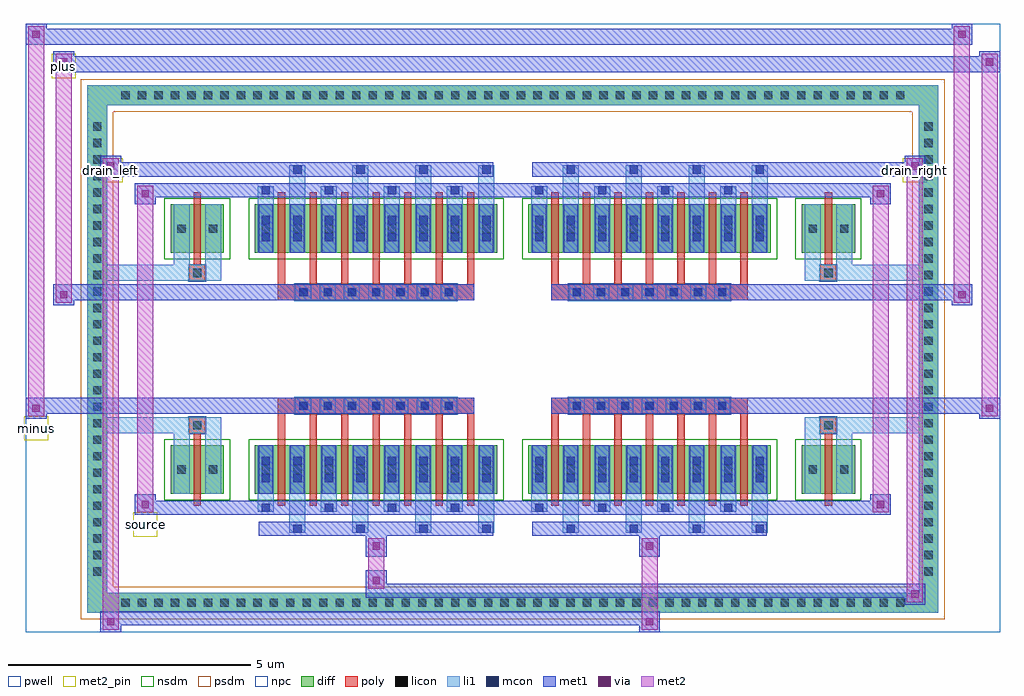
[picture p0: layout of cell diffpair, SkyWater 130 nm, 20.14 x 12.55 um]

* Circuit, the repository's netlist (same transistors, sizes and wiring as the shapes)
* NGSPICE file created from diffpair.ext - technology: sky130A

.subckt diffpair minus drain_right drain_left source plus
X0 source minus drain_right a_n1756_n1088# sky130_fd_pr__nfet_01v8 ad=0.25 pd=1.5 as=0.25 ps=1.5 w=1 l=0.15
X1 drain_left plus source a_n1756_n1088# sky130_fd_pr__nfet_01v8 ad=0.475 pd=2.95 as=0.25 ps=1.5 w=1 l=0.15
X2 drain_right minus source a_n1756_n1088# sky130_fd_pr__nfet_01v8 ad=0.25 pd=1.5 as=0.25 ps=1.5 w=1 l=0.15
X3 source plus drain_left a_n1756_n1088# sky130_fd_pr__nfet_01v8 ad=0.25 pd=1.5 as=0.25 ps=1.5 w=1 l=0.15
X4 a_n1756_n1088# a_n1756_n1088# a_n1756_n1088# a_n1756_n1088# sky130_fd_pr__nfet_01v8 ad=0.475 pd=2.95 as=3.8 ps=23.6 w=1 l=0.15
X5 source plus drain_left a_n1756_n1088# sky130_fd_pr__nfet_01v8 ad=0.25 pd=1.5 as=0.25 ps=1.5 w=1 l=0.15
X6 source minus drain_right a_n1756_n1088# sky130_fd_pr__nfet_01v8 ad=0.25 pd=1.5 as=0.25 ps=1.5 w=1 l=0.15
X7 drain_right minus source a_n1756_n1088# sky130_fd_pr__nfet_01v8 ad=0.25 pd=1.5 as=0.475 ps=2.95 w=1 l=0.15
X8 a_n1756_n1088# a_n1756_n1088# a_n1756_n1088# a_n1756_n1088# sky130_fd_pr__nfet_01v8 ad=0.475 pd=2.95 as=0 ps=0 w=1 l=0.15
X9 a_n1756_n1088# a_n1756_n1088# a_n1756_n1088# a_n1756_n1088# sky130_fd_pr__nfet_01v8 ad=0.475 pd=2.95 as=0 ps=0 w=1 l=0.15
X10 drain_left plus source a_n1756_n1088# sky130_fd_pr__nfet_01v8 ad=0.25 pd=1.5 as=0.475 ps=2.95 w=1 l=0.15
X11 a_n1756_n1088# a_n1756_n1088# a_n1756_n1088# a_n1756_n1088# sky130_fd_pr__nfet_01v8 ad=0.475 pd=2.95 as=0 ps=0 w=1 l=0.15
X12 source minus drain_right a_n1756_n1088# sky130_fd_pr__nfet_01v8 ad=0.25 pd=1.5 as=0.25 ps=1.5 w=1 l=0.15
X13 source minus drain_right a_n1756_n1088# sky130_fd_pr__nfet_01v8 ad=0.25 pd=1.5 as=0.25 ps=1.5 w=1 l=0.15
X14 drain_right minus source a_n1756_n1088# sky130_fd_pr__nfet_01v8 ad=0.25 pd=1.5 as=0.475 ps=2.95 w=1 l=0.15
X15 drain_right minus source a_n1756_n1088# sky130_fd_pr__nfet_01v8 ad=0.25 pd=1.5 as=0.25 ps=1.5 w=1 l=0.15
X16 drain_right minus source a_n1756_n1088# sky130_fd_pr__nfet_01v8 ad=0.25 pd=1.5 as=0.25 ps=1.5 w=1 l=0.15
X17 drain_left plus source a_n1756_n1088# sky130_fd_pr__nfet_01v8 ad=0.25 pd=1.5 as=0.25 ps=1.5 w=1 l=0.15
X18 source minus drain_right a_n1756_n1088# sky130_fd_pr__nfet_01v8 ad=0.25 pd=1.5 as=0.25 ps=1.5 w=1 l=0.15
X19 drain_right minus source a_n1756_n1088# sky130_fd_pr__nfet_01v8 ad=0.475 pd=2.95 as=0.25 ps=1.5 w=1 l=0.15
X20 drain_left plus source a_n1756_n1088# sky130_fd_pr__nfet_01v8 ad=0.475 pd=2.95 as=0.25 ps=1.5 w=1 l=0.15
X21 drain_right minus source a_n1756_n1088# sky130_fd_pr__nfet_01v8 ad=0.25 pd=1.5 as=0.25 ps=1.5 w=1 l=0.15
X22 drain_right minus source a_n1756_n1088# sky130_fd_pr__nfet_01v8 ad=0.475 pd=2.95 as=0.25 ps=1.5 w=1 l=0.15
X23 source plus drain_left a_n1756_n1088# sky130_fd_pr__nfet_01v8 ad=0.25 pd=1.5 as=0.25 ps=1.5 w=1 l=0.15
X24 source plus drain_left a_n1756_n1088# sky130_fd_pr__nfet_01v8 ad=0.25 pd=1.5 as=0.25 ps=1.5 w=1 l=0.15
X25 source minus drain_right a_n1756_n1088# sky130_fd_pr__nfet_01v8 ad=0.25 pd=1.5 as=0.25 ps=1.5 w=1 l=0.15
X26 drain_left plus source a_n1756_n1088# sky130_fd_pr__nfet_01v8 ad=0.25 pd=1.5 as=0.475 ps=2.95 w=1 l=0.15
X27 drain_left plus source a_n1756_n1088# sky130_fd_pr__nfet_01v8 ad=0.25 pd=1.5 as=0.25 ps=1.5 w=1 l=0.15
X28 source plus drain_left a_n1756_n1088# sky130_fd_pr__nfet_01v8 ad=0.25 pd=1.5 as=0.25 ps=1.5 w=1 l=0.15
X29 source plus drain_left a_n1756_n1088# sky130_fd_pr__nfet_01v8 ad=0.25 pd=1.5 as=0.25 ps=1.5 w=1 l=0.15
X30 drain_left plus source a_n1756_n1088# sky130_fd_pr__nfet_01v8 ad=0.25 pd=1.5 as=0.25 ps=1.5 w=1 l=0.15
X31 drain_left plus source a_n1756_n1088# sky130_fd_pr__nfet_01v8 ad=0.25 pd=1.5 as=0.25 ps=1.5 w=1 l=0.15
.ends

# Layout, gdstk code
import gdstk
lib = gdstk.Library(unit=1e-6, precision=5e-09)
def R(c, l, rs):  # rectangles x0, y0, x1, y1
    for r in rs: c.add(gdstk.rectangle(r[:2], r[2:], *l))
def A(c, l, x, y, w, h, nx, ny, dx, dy):  # array of equal rectangles
    R(c, l, [(x+i*dx, y+j*dy, x+i*dx+w, y+j*dy+h) for i in range(nx) for j in range(ny)])
def P(c, l, *ps):  # polygons
    for p in ps: c.add(gdstk.Polygon(p, *l))
pwell = (64, 44)
diff = (65, 20)
poly = (66, 20)
licon = (66, 44)
li1 = (67, 20)
mcon = (67, 44)
met1 = (68, 20)
via = (68, 44)
met2_pin = (69, 16)
met2 = (69, 20)
nsdm = (93, 44)
psdm = (94, 20)
npc = (95, 20)

diffpair = lib.new_cell('diffpair')
R(diffpair, pwell, [(-10.05,-5.84,10.05,6.71), (-7.37,-4.03,-0.01,-0.805), (0.01,-4.03,7.37,-0.805), (-7.37,0.805,-0.01,4.03), (0.01,0.805,7.37,4.03)])
A(diffpair, diff, -8.195, -5.44, 0.41, 0.41, 48, 2, 0.34, 10.47)
A(diffpair, diff, -8.78, -4.795, 0.41, 0.41, 1, 28, 0, 0.34)
A(diffpair, diff, 8.37, -4.795, 0.41, 0.41, 1, 28, 0, 0.34)
R(diffpair, diff, [(-8.195,-5.44,8.195,-5.03), (-8.78,-4.795,-8.37,4.795), (8.37,-4.795,8.78,4.795), (-7.06,-2.985,-5.96,-1.985), (-5.32,-2.985,-0.32,-1.985), (0.32,-2.985,5.32,-1.985), (5.96,-2.985,7.06,-1.985), (-7.06,1.985,-5.96,2.985), (-5.32,1.985,-0.32,2.985), (0.32,1.985,5.32,2.985), (5.96,1.985,7.06,2.985), (-8.195,5.03,8.195,5.44)])
P(diffpair, diff, [(8.78,5.44),(-8.78,5.44),(-8.78,-5.03),(-8.37,-5.03),(-8.37,5.03),(8.37,5.03),(8.37,-5.03),(-8.37,-5.03),(-8.78,-5.03),(-8.78,-5.44),(8.78,-5.44)])
A(diffpair, poly, -4.845, -3.235, 0.15, 1.5, 7, 2, 0.65, 4.97)
A(diffpair, poly, 0.795, -3.235, 0.15, 1.5, 7, 2, 0.65, 4.97)
A(diffpair, poly, -4.845, -1.735, 0.15, 0.4, 7, 2, 0.65, 3.07)
A(diffpair, poly, 0.795, -1.735, 0.15, 0.4, 7, 2, 0.65, 3.07)
A(diffpair, poly, -4.485, -1.335, 0.33, 0.33, 7, 2, 0.5, 2.34)
A(diffpair, poly, 1.155, -1.335, 0.33, 0.33, 7, 2, 0.5, 2.34)
R(diffpair, poly, [(-6.585,-3.235,-6.435,-1.735), (6.435,-3.235,6.585,-1.735), (-6.675,-1.735,-6.345,-1.405), (-6.675,-1.735,-6.345,-1.405), (6.345,-1.735,6.675,-1.405), (6.345,-1.735,6.675,-1.405), (-4.845,-1.335,-0.795,-1.005), (0.795,-1.335,4.845,-1.005), (-4.845,1.005,-0.795,1.335), (0.795,1.005,4.845,1.335), (-6.675,1.405,-6.345,1.735), (-6.675,1.405,-6.345,1.735), (6.345,1.405,6.675,1.735), (6.345,1.405,6.675,1.735), (-6.585,1.735,-6.435,3.235), (6.435,1.735,6.585,3.235)])
A(diffpair, licon, -8.075, -5.32, 0.17, 0.17, 48, 2, 0.34, 10.47)
A(diffpair, licon, -8.66, -4.675, 0.17, 0.17, 1, 28, 0, 0.34)
A(diffpair, licon, 8.49, -4.675, 0.17, 0.17, 1, 28, 0, 0.34)
A(diffpair, licon, -5.18, -2.57, 0.17, 0.17, 8, 2, 0.65, 4.97)
A(diffpair, licon, 0.46, -2.57, 0.17, 0.17, 8, 2, 0.65, 4.97)
A(diffpair, licon, -4.405, -1.255, 0.17, 0.17, 7, 2, 0.5, 2.34)
A(diffpair, licon, 1.235, -1.255, 0.17, 0.17, 7, 2, 0.5, 2.34)
R(diffpair, licon, [(-6.92,-2.57,-6.75,-2.4), (-6.27,-2.57,-6.1,-2.4), (6.1,-2.57,6.27,-2.4), (6.75,-2.57,6.92,-2.4), (-6.595,-1.655,-6.425,-1.485), (6.425,-1.655,6.595,-1.485), (-6.595,1.485,-6.425,1.655), (6.425,1.485,6.595,1.655), (-6.92,2.4,-6.75,2.57), (-6.27,2.4,-6.1,2.57), (6.1,2.4,6.27,2.57), (6.75,2.4,6.92,2.57)])
A(diffpair, li1, -8.155, -5.4, 0.33, 0.33, 48, 2, 0.34, 10.47)
A(diffpair, li1, -8.74, -4.755, 0.33, 0.33, 1, 28, 0, 0.34)
A(diffpair, li1, 8.41, -4.755, 0.33, 0.33, 1, 28, 0, 0.34)
A(diffpair, li1, -4.61, -3.79, 0.33, 0.805, 4, 2, 1.3, 6.775)
A(diffpair, li1, -4.53, -3.79, 0.17, 0.17, 4, 2, 1.3, 7.41)
A(diffpair, li1, 1.03, -3.79, 0.33, 0.805, 4, 2, 1.3, 6.775)
A(diffpair, li1, 1.11, -3.79, 0.17, 0.17, 4, 2, 1.3, 7.41)
A(diffpair, li1, -5.26, -3.36, 0.33, 0.375, 4, 2, 1.3, 6.345)
A(diffpair, li1, -5.18, -3.36, 0.17, 0.17, 4, 2, 1.3, 6.55)
A(diffpair, li1, 0.38, -3.36, 0.33, 0.375, 4, 2, 1.3, 6.345)
A(diffpair, li1, 0.46, -3.36, 0.17, 0.17, 4, 2, 1.3, 6.55)
A(diffpair, li1, -5.26, -2.985, 0.33, 1, 8, 2, 0.65, 4.97)
A(diffpair, li1, 0.38, -2.985, 0.33, 1, 8, 2, 0.65, 4.97)
A(diffpair, li1, -5.18, -2.75, 0.17, 0.17, 8, 2, 0.65, 0.36)
A(diffpair, li1, -5.18, -2.75, 0.17, 0.53, 8, 2, 0.65, 4.97)
A(diffpair, li1, 0.46, -2.75, 0.17, 0.17, 8, 2, 0.65, 0.36)
A(diffpair, li1, 0.46, -2.75, 0.17, 0.53, 8, 2, 0.65, 4.97)
A(diffpair, li1, -5.26, -2.65, 0.33, 0.33, 8, 2, 0.65, 4.97)
A(diffpair, li1, 0.38, -2.65, 0.33, 0.33, 8, 2, 0.65, 4.97)
A(diffpair, li1, -4.485, -1.335, 0.33, 0.33, 7, 2, 0.5, 2.34)
A(diffpair, li1, 1.155, -1.335, 0.33, 0.33, 7, 2, 0.5, 2.34)
A(diffpair, li1, -5.18, 2.22, 0.17, 0.17, 8, 2, 0.65, 0.36)
A(diffpair, li1, 0.46, 2.22, 0.17, 0.17, 8, 2, 0.65, 0.36)
R(diffpair, li1, [(-8.78,-5.44,-8.37,-5.03), (-8.78,-5.44,-8.37,-5.03), (-8.37,-5.44,8.37,-5.03), (8.37,-5.44,8.78,-5.03), (8.37,-5.44,8.78,-5.03), (-8.78,-5.03,-8.37,5.03), (8.37,-5.03,8.78,5.03), (-7,-2.985,-6.67,-1.985), (-6.35,-2.985,-6.02,-1.985), (6.02,-2.985,6.35,-1.985), (6.67,-2.985,7,-1.985), (-7,-2.65,-6.67,-2.32), (-6.35,-2.65,-6.02,-2.32), (6.02,-2.65,6.35,-2.32), (6.67,-2.65,7,-2.32), (-7,-1.985,-6.67,-1.405), (-6.35,-1.985,-6.02,-1.405), (6.02,-1.985,6.35,-1.405), (6.67,-1.985,7,-1.405), (-8.78,-1.735,-6.675,-1.405), (-7,-1.735,-6.675,-1.405), (-6.675,-1.735,-6.345,-1.405), (-6.345,-1.735,-6.02,-1.405), (6.02,-1.735,6.345,-1.405), (6.345,-1.735,6.675,-1.405), (6.345,-1.735,8.78,-1.405), (6.675,-1.735,7,-1.405), (-8.78,1.405,-6.675,1.735), (-7,1.405,-6.675,1.735), (-7,1.405,-6.67,1.985), (-6.675,1.405,-6.345,1.735), (-6.35,1.405,-6.02,1.985), (-6.345,1.405,-6.02,1.735), (6.02,1.405,6.345,1.735), (6.02,1.405,6.35,1.985), (6.345,1.405,6.675,1.735), (6.345,1.405,8.78,1.735), (6.67,1.405,7,1.985), (6.675,1.405,7,1.735), (-7,1.985,-6.67,2.985), (-6.35,1.985,-6.02,2.985), (6.02,1.985,6.35,2.985), (6.67,1.985,7,2.985), (-7,2.32,-6.67,2.65), (-6.35,2.32,-6.02,2.65), (6.02,2.32,6.35,2.65), (6.67,2.32,7,2.65), (-8.78,5.03,-8.37,5.44), (-8.78,5.03,-8.37,5.44), (-8.37,5.03,8.37,5.44), (8.37,5.03,8.78,5.44), (8.37,5.03,8.78,5.44)])
A(diffpair, mcon, -4.53, -3.79, 0.17, 0.17, 4, 2, 1.3, 7.41)
A(diffpair, mcon, 1.11, -3.79, 0.17, 0.17, 4, 2, 1.3, 7.41)
A(diffpair, mcon, -5.18, -3.36, 0.17, 0.17, 4, 2, 1.3, 6.55)
A(diffpair, mcon, 0.46, -3.36, 0.17, 0.17, 4, 2, 1.3, 6.55)
A(diffpair, mcon, -5.18, -2.75, 0.17, 0.17, 8, 2, 0.65, 0.36)
A(diffpair, mcon, 0.46, -2.75, 0.17, 0.17, 8, 2, 0.65, 0.36)
A(diffpair, mcon, -4.405, -1.255, 0.17, 0.17, 7, 2, 0.5, 2.34)
A(diffpair, mcon, 1.235, -1.255, 0.17, 0.17, 7, 2, 0.5, 2.34)
A(diffpair, mcon, -5.18, 2.22, 0.17, 0.17, 8, 2, 0.65, 0.36)
A(diffpair, mcon, 0.46, 2.22, 0.17, 0.17, 8, 2, 0.65, 0.36)
A(diffpair, met1, -4.59, -3.85, 0.29, 0.29, 4, 2, 1.3, 7.41)
A(diffpair, met1, 1.05, -3.85, 0.29, 0.29, 4, 2, 1.3, 7.41)
A(diffpair, met1, -5.24, -3.42, 0.29, 0.29, 4, 2, 1.3, 6.55)
A(diffpair, met1, 0.4, -3.42, 0.29, 0.29, 4, 2, 1.3, 6.55)
A(diffpair, met1, -5.24, -2.985, 0.29, 1, 8, 2, 0.65, 4.97)
A(diffpair, met1, 0.4, -2.985, 0.29, 1, 8, 2, 0.65, 4.97)
A(diffpair, met1, -5.24, -2.81, 0.29, 0.29, 8, 2, 0.65, 0.36)
A(diffpair, met1, 0.4, -2.81, 0.29, 0.29, 8, 2, 0.65, 0.36)
A(diffpair, met1, -4.465, -1.315, 0.29, 0.29, 7, 2, 0.5, 2.34)
A(diffpair, met1, 1.175, -1.315, 0.29, 0.29, 7, 2, 0.5, 2.34)
A(diffpair, met1, -5.24, 2.16, 0.29, 0.29, 8, 2, 0.65, 0.36)
A(diffpair, met1, 0.4, 2.16, 0.29, 0.29, 8, 2, 0.65, 0.36)
R(diffpair, met1, [(-8.51,-5.84,-8.08,-5.41), (2.605,-5.84,3.035,-5.41), (-8.51,-5.7,3.035,-5.41), (8.08,-5.27,8.51,-4.84), (-3.035,-5.13,8.51,-4.84), (-3.035,-4.99,-2.605,-4.56), (-3.035,-4.28,-2.605,-3.85), (2.605,-4.28,3.035,-3.85), (-5.24,-3.85,-0.4,-3.56), (0.4,-3.85,5.24,-3.56), (-7.8,-3.42,-7.37,-2.99), (-7.8,-3.42,-5.24,-3.13), (-5.24,-3.42,-0.4,-3.13), (-0.4,-3.42,0.4,-3.13), (0.4,-3.42,5.24,-3.13), (5.24,-3.42,7.8,-3.13), (7.37,-3.42,7.8,-2.99), (-10.05,-1.435,-9.62,-1.005), (9.62,-1.435,10.05,-1.005), (-10.05,-1.335,-0.795,-1.005), (-4.845,-1.335,-0.795,-1.005), (0.795,-1.335,4.845,-1.005), (0.795,-1.335,10.05,-1.005), (-9.48,0.905,-9.05,1.335), (9.05,0.905,9.48,1.335), (-9.48,1.005,-4.845,1.335), (-4.845,1.005,-0.795,1.335), (0.795,1.005,4.845,1.335), (4.845,1.005,9.48,1.335), (-7.8,2.99,-7.37,3.42), (7.37,2.99,7.8,3.42), (-7.8,3.13,-5.24,3.42), (-5.24,3.13,-0.4,3.42), (-0.4,3.13,0.4,3.42), (0.4,3.13,5.24,3.42), (5.24,3.13,7.8,3.42), (-8.51,3.56,-8.08,3.99), (-8.51,3.56,-5.24,3.85), (-5.24,3.56,-0.4,3.85), (0.4,3.56,5.24,3.85), (5.24,3.56,8.51,3.85), (8.08,3.56,8.51,3.99), (-9.48,5.71,-9.05,6.14), (-9.48,5.71,-7.37,6.04), (-7.37,5.71,7.37,6.04), (7.37,5.71,10.05,6.04), (9.62,5.71,10.05,6.14), (-10.05,6.28,-9.62,6.71), (-10.05,6.28,-7.37,6.61), (-7.37,6.28,7.37,6.61), (7.37,6.28,9.48,6.61), (9.05,6.28,9.48,6.71)])
R(diffpair, via, [(-8.37,-5.7,-8.22,-5.55), (2.745,-5.7,2.895,-5.55), (8.22,-5.13,8.37,-4.98), (-2.895,-4.85,-2.745,-4.7), (-2.895,-4.14,-2.745,-3.99), (2.745,-4.14,2.895,-3.99), (-7.66,-3.28,-7.51,-3.13), (7.51,-3.28,7.66,-3.13), (-9.91,-1.295,-9.76,-1.145), (9.76,-1.295,9.91,-1.145), (-9.34,1.045,-9.19,1.195), (9.19,1.045,9.34,1.195), (-7.66,3.13,-7.51,3.28), (7.51,3.13,7.66,3.28), (-8.37,3.7,-8.22,3.85), (8.22,3.7,8.37,3.85), (-9.34,5.85,-9.19,6), (9.76,5.85,9.91,6), (-9.91,6.42,-9.76,6.57), (9.19,6.42,9.34,6.57)])
R(diffpair, met2_pin, [(-7.835,-3.87,-7.335,-3.37), (-10.085,-1.885,-9.585,-1.385), (-8.545,3.44,-8.045,3.94), (8.045,3.44,8.545,3.94), (-9.515,5.59,-9.015,6.09)])
R(diffpair, met2, [(-8.46,-5.79,-8.13,-5.46), (-8.46,-5.79,-8.13,3.94), (2.655,-5.79,2.985,-5.46), (2.655,-5.46,2.985,-4.23), (8.13,-5.22,8.46,-4.89), (8.13,-5.22,8.46,3.94), (-2.985,-4.94,-2.655,-4.61), (-2.985,-4.61,-2.655,-4.23), (-2.985,-4.23,-2.655,-3.9), (2.655,-4.23,2.985,-3.9), (-7.75,-3.37,-7.42,-3.04), (-7.75,-3.37,-7.42,3.37), (7.42,-3.37,7.75,-3.04), (7.42,-3.37,7.75,3.37), (-10,-1.385,-9.67,-1.055), (-10,-1.385,-9.67,6.66), (9.67,-1.385,10,-1.055), (9.67,-1.385,10,6.09), (-9.43,0.955,-9.1,1.285), (-9.43,0.955,-9.1,6.09), (9.1,0.955,9.43,1.285), (9.1,0.955,9.43,6.66), (-7.75,3.04,-7.42,3.37), (7.42,3.04,7.75,3.37), (-8.46,3.61,-8.13,3.94), (8.13,3.61,8.46,3.94), (-9.43,5.76,-9.1,6.09), (9.67,5.76,10,6.09), (-10,6.33,-9.67,6.66), (9.1,6.33,9.43,6.66)])
P(diffpair, met2, [(10,-1.385),(10,-1.385),(10,-1.055),(10,-1.055)],
  [(10,5.76),(10,5.76),(10,6.09),(10,6.09)],
  [(-9.67,-1.385),(-9.67,-1.385),(-9.67,-1.055),(-9.67,-1.055)],
  [(-9.67,6.33),(-9.67,6.33),(-9.67,6.66),(-9.67,6.66)],
  [(9.43,0.955),(9.43,0.955),(9.43,1.285),(9.43,1.285)],
  [(9.43,6.33),(9.43,6.33),(9.43,6.66),(9.43,6.66)],
  [(-9.1,0.955),(-9.1,0.955),(-9.1,1.285),(-9.1,1.285)],
  [(-9.1,5.76),(-9.1,5.76),(-9.1,6.09),(-9.1,6.09)],
  [(-8.13,-5.79),(-8.13,-5.79),(-8.13,-5.46),(-8.13,-5.46)],
  [(-8.13,3.61),(-8.13,3.61),(-8.13,3.94),(-8.13,3.94)],
  [(8.46,-5.22),(8.46,-5.22),(8.46,-4.89),(8.46,-4.89)],
  [(8.46,3.61),(8.46,3.61),(8.46,3.94),(8.46,3.94)],
  [(-7.42,-3.37),(-7.42,-3.37),(-7.42,-3.04),(-7.42,-3.04)],
  [(-7.42,3.04),(-7.42,3.04),(-7.42,3.37),(-7.42,3.37)],
  [(7.75,-3.37),(7.75,-3.37),(7.75,-3.04),(7.75,-3.04)],
  [(7.75,3.04),(7.75,3.04),(7.75,3.37),(7.75,3.37)])
R(diffpair, nsdm, [(-7.19,-3.115,-5.83,-1.855), (-5.45,-3.115,-0.19,-1.855), (0.19,-3.115,5.45,-1.855), (5.83,-3.115,7.19,-1.855), (-7.19,1.855,-5.83,3.115), (-5.45,1.855,-0.19,3.115), (0.19,1.855,5.45,3.115), (5.83,1.855,7.19,3.115)])
P(diffpair, psdm, [(8.91,5.57),(-8.91,5.57),(-8.91,-4.9),(-8.24,-4.9),(-8.24,4.9),(8.24,4.9),(8.24,-4.9),(-8.24,-4.9),(-8.91,-4.9),(-8.91,-5.57),(8.91,-5.57)])
A(diffpair, npc, -4.505, -1.355, 0.37, 0.37, 7, 2, 0.5, 2.34)
A(diffpair, npc, 1.135, -1.355, 0.37, 0.37, 7, 2, 0.5, 2.34)
R(diffpair, npc, [(-6.695,-1.755,-6.325,-1.385), (6.325,-1.755,6.695,-1.385), (-4.505,-1.355,-3.635,-0.985), (-4.505,-1.355,-3.635,-0.985), (-4.005,-1.355,-3.135,-0.985), (-4.005,-1.355,-3.135,-0.985), (-3.505,-1.355,-2.635,-0.985), (-3.505,-1.355,-2.635,-0.985), (-3.005,-1.355,-2.135,-0.985), (-3.005,-1.355,-2.135,-0.985), (-2.505,-1.355,-1.635,-0.985), (-2.505,-1.355,-1.635,-0.985), (-2.005,-1.355,-1.135,-0.985), (-2.005,-1.355,-1.135,-0.985), (1.135,-1.355,2.005,-0.985), (1.135,-1.355,2.005,-0.985), (1.635,-1.355,2.505,-0.985), (1.635,-1.355,2.505,-0.985), (2.135,-1.355,3.005,-0.985), (2.135,-1.355,3.005,-0.985), (2.635,-1.355,3.505,-0.985), (2.635,-1.355,3.505,-0.985), (3.135,-1.355,4.005,-0.985), (3.135,-1.355,4.005,-0.985), (3.635,-1.355,4.505,-0.985), (3.635,-1.355,4.505,-0.985), (-4.505,0.985,-3.635,1.355), (-4.505,0.985,-3.635,1.355), (-4.005,0.985,-3.135,1.355), (-4.005,0.985,-3.135,1.355), (-3.505,0.985,-2.635,1.355), (-3.505,0.985,-2.635,1.355), (-3.005,0.985,-2.135,1.355), (-3.005,0.985,-2.135,1.355), (-2.505,0.985,-1.635,1.355), (-2.505,0.985,-1.635,1.355), (-2.005,0.985,-1.135,1.355), (-2.005,0.985,-1.135,1.355), (1.135,0.985,2.005,1.355), (1.135,0.985,2.005,1.355), (1.635,0.985,2.505,1.355), (1.635,0.985,2.505,1.355), (2.135,0.985,3.005,1.355), (2.135,0.985,3.005,1.355), (2.635,0.985,3.505,1.355), (2.635,0.985,3.505,1.355), (3.135,0.985,4.005,1.355), (3.135,0.985,4.005,1.355), (3.635,0.985,4.505,1.355), (3.635,0.985,4.505,1.355), (-6.695,1.385,-6.325,1.755), (6.325,1.385,6.695,1.755)])
diffpair.add(gdstk.Label('minus', (-9.835,-1.635), layer=69, texttype=5))
diffpair.add(gdstk.Label('drain_right', (8.295,3.69), layer=69, texttype=5))
diffpair.add(gdstk.Label('drain_left', (-8.295,3.69), layer=69, texttype=5))
diffpair.add(gdstk.Label('source', (-7.585,-3.62), layer=69, texttype=5))
diffpair.add(gdstk.Label('plus', (-9.265,5.84), layer=69, texttype=5))

lib.write_gds('diffpair.gds')
